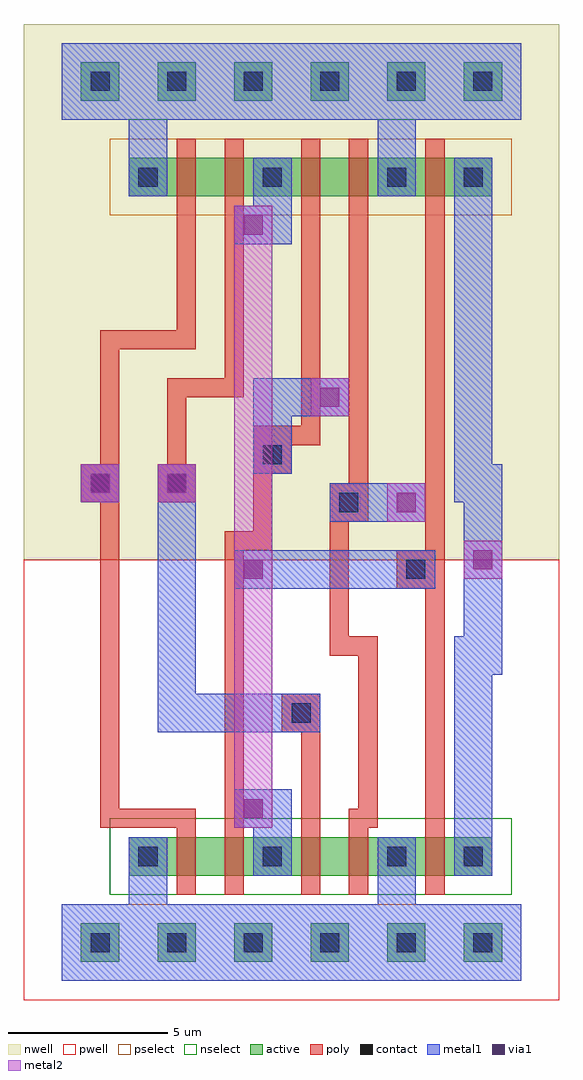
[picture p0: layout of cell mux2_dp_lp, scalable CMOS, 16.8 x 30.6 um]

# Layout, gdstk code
import gdstk
lib = gdstk.Library(unit=1e-6, precision=1e-09)
def R(c, l, rs):  # rectangles x0, y0, x1, y1
    for r in rs: c.add(gdstk.rectangle(r[:2], r[2:], *l))
def A(c, l, x, y, w, h, nx, ny, dx, dy):  # array of equal rectangles
    R(c, l, [(x+i*dx, y+j*dy, x+i*dx+w, y+j*dy+h) for i in range(nx) for j in range(ny)])
contact = (25, 0)
pwell = (41, 0)
nwell = (42, 0)
active = (43, 0)
pselect = (44, 0)
nselect = (45, 0)
poly = (46, 0)
metal1 = (49, 0)
via1 = (50, 0)
metal2 = (51, 0)

mux2_dp_lp = lib.new_cell('mux2_dp_lp')
A(mux2_dp_lp, contact, 0.3, -0.3, 0.6, 0.6, 6, 2, 2.4, 27)
A(mux2_dp_lp, contact, 1.8, 2.4, 0.6, 0.6, 3, 2, 3.9, 21.3)
R(mux2_dp_lp, contact, [(12,2.4,12.6,3), (6.6,6.9,7.2,7.5), (10.2,11.4,10.8,12), (8.1,13.5,8.7,14.1), (0.3,14.1,0.9,14.7), (2.7,14.1,3.3,14.7), (5.7,15,6.3,15.6), (12,23.7,12.6,24.3)])
A(mux2_dp_lp, pwell, -0.9, -1.5, 3, 3, 6, 1, 2.4, 0)
A(mux2_dp_lp, pwell, -0.3, 0.3, 4.8, 4.8, 3, 1, 3.9, 0)
R(mux2_dp_lp, pwell, [(-1.8,-1.8,15,12), (0.3,0.3,6.3,5.1), (1.8,0.3,7.8,5.1), (4.2,0.3,10.2,5.1), (5.7,0.3,11.7,5.1), (7.725,0.3,12.225,4.95), (8.1,0.3,14.1,5.1), (9.9,0.3,14.7,5.1), (-0.15,0.45,4.425,4.95), (3.675,0.45,8.25,4.95), (3.675,0.45,8.175,5.1), (3.75,0.45,8.325,4.95), (3.825,0.45,8.325,5.1), (5.325,0.45,10.575,4.95), (7.575,0.45,12.15,4.95), (7.575,0.45,12.075,5.1), (7.65,0.45,12.225,4.95), (9.975,0.45,14.55,4.95), (1.425,0.6,6.675,5.1)])
A(mux2_dp_lp, nwell, -0.3, 21.6, 4.8, 4.8, 3, 1, 3.9, 0)
A(mux2_dp_lp, nwell, -0.9, 25.5, 3, 3, 6, 1, 2.4, 0)
R(mux2_dp_lp, nwell, [(-1.8,12,15,28.8), (0.3,21.6,6.3,26.4), (1.8,21.6,7.8,26.4), (3.675,21.6,8.175,26.25), (3.75,21.6,8.325,26.1), (3.75,21.6,8.25,26.25), (4.2,21.6,10.2,26.4), (5.7,21.6,11.7,26.4), (7.575,21.6,12.075,26.25), (7.725,21.6,12.225,26.25), (8.1,21.6,14.1,26.4), (9.9,21.6,14.7,26.4), (-0.15,21.75,4.425,26.25), (1.425,21.75,6.675,26.25), (3.675,21.75,8.25,26.25), (5.325,21.75,10.575,26.25), (7.575,21.75,12.15,26.25), (7.65,21.75,12.225,26.25), (9.975,21.75,14.55,26.25)])
A(mux2_dp_lp, active, 0, -0.6, 1.2, 1.2, 6, 2, 2.4, 27)
A(mux2_dp_lp, active, 1.5, 2.1, 1.2, 1.2, 3, 2, 3.9, 21.3)
R(mux2_dp_lp, active, [(2.1,2.1,4.5,3.3), (3.6,2.1,6,3.3), (6,2.1,8.4,3.3), (7.5,2.1,9.9,3.3), (9.525,2.1,10.425,3.15), (9.9,2.1,12.3,3.3), (11.7,2.1,12.9,3.3), (1.65,2.25,2.625,3.15), (5.475,2.25,6.45,3.15), (5.475,2.25,6.375,3.3), (5.55,2.25,6.525,3.15), (5.625,2.25,6.525,3.3), (7.125,2.25,8.775,3.15), (9.375,2.25,10.35,3.15), (9.375,2.25,10.275,3.3), (9.45,2.25,10.425,3.15), (11.775,2.25,12.75,3.15), (3.225,2.4,4.875,3.3), (2.1,23.4,4.5,24.6), (3.6,23.4,6,24.6), (5.475,23.4,6.375,24.45), (5.55,23.4,6.525,24.3), (5.55,23.4,6.45,24.45), (6,23.4,8.4,24.6), (7.5,23.4,9.9,24.6), (9.375,23.4,10.275,24.45), (9.525,23.4,10.425,24.45), (9.9,23.4,12.3,24.6), (11.7,23.4,12.9,24.6), (1.65,23.55,2.625,24.45), (3.225,23.55,4.875,24.45), (5.475,23.55,6.45,24.45), (7.125,23.55,8.775,24.45), (9.375,23.55,10.35,24.45), (9.45,23.55,10.425,24.45), (11.775,23.55,12.75,24.45)])
A(mux2_dp_lp, pselect, -0.6, -1.2, 2.4, 2.4, 6, 1, 2.4, 0)
A(mux2_dp_lp, pselect, 0.9, 22.8, 2.4, 2.4, 3, 1, 3.9, 0)
R(mux2_dp_lp, pselect, [(1.5,22.8,5.1,25.2), (3,22.8,6.6,25.2), (4.875,22.8,6.975,25.05), (4.95,22.8,7.125,24.9), (4.95,22.8,7.05,25.05), (5.4,22.8,9,25.2), (6.9,22.8,10.5,25.2), (8.775,22.8,10.875,25.05), (8.925,22.8,11.025,25.05), (9.3,22.8,12.9,25.2), (11.1,22.8,13.5,25.2), (1.05,22.95,3.225,25.05), (2.625,22.95,5.475,25.05), (4.875,22.95,7.05,25.05), (6.525,22.95,9.375,25.05), (8.775,22.95,10.95,25.05), (8.85,22.95,11.025,25.05), (11.175,22.95,13.35,25.05)])
A(mux2_dp_lp, nselect, 0.9, 1.5, 2.4, 2.4, 3, 1, 3.9, 0)
A(mux2_dp_lp, nselect, -0.6, 25.8, 2.4, 2.4, 6, 1, 2.4, 0)
R(mux2_dp_lp, nselect, [(1.5,1.5,5.1,3.9), (3,1.5,6.6,3.9), (5.4,1.5,9,3.9), (6.9,1.5,10.5,3.9), (8.925,1.5,11.025,3.75), (9.3,1.5,12.9,3.9), (11.1,1.5,13.5,3.9), (1.05,1.65,3.225,3.75), (4.875,1.65,7.05,3.75), (4.875,1.65,6.975,3.9), (4.95,1.65,7.125,3.75), (5.025,1.65,7.125,3.9), (6.525,1.65,9.375,3.75), (8.775,1.65,10.95,3.75), (8.775,1.65,10.875,3.9), (8.85,1.65,11.025,3.75), (11.175,1.65,13.35,3.75), (2.625,1.8,5.475,3.9)])
R(mux2_dp_lp, poly, [(3,1.5,3.6,3.9), (4.5,1.5,5.1,3.9), (6.9,1.5,7.5,3.9), (8.4,1.5,9,3.9), (10.8,1.5,11.4,3.9), (0.6,3.6,3.6,4.2), (0.6,3.6,1.2,14.7), (4.5,3.6,5.1,12.9), (6.9,3.6,7.5,7.2), (8.4,3.6,9.3,4.2), (8.7,3.6,9.3,9.6), (10.8,3.6,11.4,12), (6.3,6.6,7.5,7.8), (6.6,6.6,7.5,7.2), (6.6,6.6,7.2,7.5), (7.8,9,9.3,9.6), (7.8,9,8.4,14.1), (9.9,11.1,11.1,12.3), (10.2,11.4,11.4,12), (10.8,11.4,11.4,23.1), (4.5,12.3,6,12.9), (5.4,12.3,6,16.2), (7.8,13.2,9,14.4), (7.8,13.5,8.7,14.1), (8.1,13.5,9,14.1), (8.4,13.5,9,23.1), (0,13.8,1.2,15), (2.4,13.8,3.6,15), (0.3,14.1,1.2,14.7), (0.6,14.1,1.2,19.2), (2.7,14.1,3.3,17.7), (5.4,14.7,6.6,15.9), (5.7,15,6.3,16.2), (5.4,15.6,6.3,16.2), (5.7,15.6,7.5,16.2), (6.9,15.6,7.5,23.1), (2.7,17.1,5.1,17.7), (4.5,17.1,5.1,23.1), (0.6,18.6,3.6,19.2), (3,18.6,3.6,23.1), (3,22.8,3.6,25.2), (4.5,22.8,5.1,25.2), (6.9,22.8,7.5,25.2), (8.4,22.8,9,25.2), (10.8,22.8,11.4,25.2)])
A(mux2_dp_lp, metal1, -0.6, -1.2, 4.8, 2.4, 3, 1, 2.4, 0)
A(mux2_dp_lp, metal1, 0, -0.6, 1.2, 1.2, 6, 1, 2.4, 0)
A(mux2_dp_lp, metal1, 1.5, 2.1, 1.2, 1.2, 3, 2, 3.9, 21.3)
A(mux2_dp_lp, metal1, 0, 26.4, 1.2, 1.2, 4, 1, 2.4, 0)
A(mux2_dp_lp, metal1, 7.2, 26.4, 1.2, 1.2, 3, 1, 2.4, 0)
R(mux2_dp_lp, metal1, [(-0.6,-1.2,1.8,1.2), (-0.6,-1.2,3.3,1.2), (-0.6,-1.2,3.3,1.2), (-0.6,-1.2,3.3,1.2), (0.9,-1.2,4.2,1.2), (6.6,-1.2,11.1,1.2), (6.6,-1.2,11.1,1.2), (6.6,-1.2,11.1,1.2), (6.6,-1.2,11.1,1.2), (8.7,-1.2,11.55,1.2), (8.7,-1.2,11.55,1.2), (8.7,-1.2,11.55,1.2), (9.15,-1.2,13.8,1.2), (1.5,-0.6,2.7,3.3), (9.3,-0.6,10.5,3.3), (5.4,2.1,6.6,4.8), (11.7,2.1,12.9,3.3), (11.7,2.1,12.9,9.6), (4.8,3.6,6,4.8), (4.8,3.6,6.6,4.8), (2.4,6.6,3.6,15), (2.4,6.6,7.5,7.8), (6.3,6.6,7.5,7.8), (11.7,8.4,13.2,9.6), (12,8.4,13.2,12.9), (4.8,11.1,6,12.3), (4.8,11.1,11.1,12.3), (9.9,11.1,11.1,12.3), (12,11.4,13.2,12.6), (12,11.7,13.2,12.9), (12,11.7,13.2,15), (7.8,13.2,9,14.4), (7.8,13.2,10.8,14.4), (9.6,13.2,10.8,14.4), (0,13.8,1.2,15), (0,13.8,1.2,15), (0,13.8,1.2,15), (2.4,13.8,3.6,15), (2.4,13.8,3.6,15), (2.4,13.8,3.6,15), (11.7,13.8,12.9,24.6), (11.7,13.8,13.05,15), (5.4,14.7,6.6,15.9), (5.4,14.7,6.6,17.7), (5.4,16.5,8.4,17.7), (7.2,16.5,8.4,17.7), (4.8,21.9,6,23.1), (4.8,21.9,6.6,23.1), (5.4,21.9,6.6,24.6), (1.5,23.4,2.7,27.6), (9.3,23.4,10.5,27.6), (11.7,23.4,12.9,24.6), (-0.6,25.8,1.8,28.2), (-0.6,25.8,3.3,28.2), (0.9,25.8,4.2,28.2), (0.9,25.8,4.2,28.2), (1.8,25.8,9,28.2), (6.6,25.8,11.1,28.2), (8.7,25.8,13.8,28.2), (0,26.4,1.2,27.6), (4.8,26.4,8.4,27.6), (9.3,26.4,10.8,27.6)])
R(mux2_dp_lp, via1, [(5.1,3.9,5.7,4.5), (5.1,11.4,5.7,12), (12.3,11.7,12.9,12.3), (9.9,13.5,10.5,14.1), (0.3,14.1,0.9,14.7), (2.7,14.1,3.3,14.7), (7.5,16.8,8.1,17.4), (5.1,22.2,5.7,22.8)])
R(mux2_dp_lp, metal2, [(4.8,3.6,6,4.8), (4.8,3.6,6,12.3), (4.8,11.1,6,12.3), (4.8,11.1,6,23.1), (12,11.4,13.2,12.6), (9.6,13.2,10.8,14.4), (0,13.8,1.2,15), (2.4,13.8,3.6,15), (7.2,16.5,8.4,17.7), (4.8,21.9,6,23.1), (4.8,21.9,6,23.1)])

lib.write_gds('mux2_dp_lp.gds')
